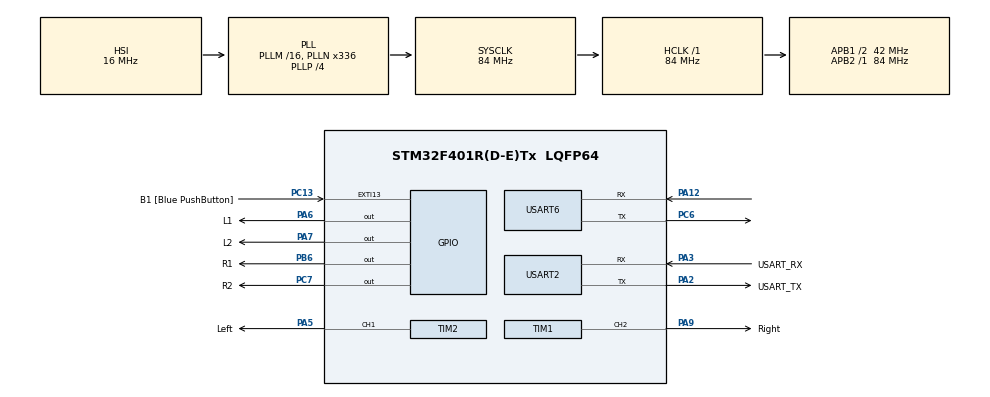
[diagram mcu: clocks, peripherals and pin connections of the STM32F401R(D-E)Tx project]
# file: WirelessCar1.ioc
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Mcu.Family=STM32F4
Mcu.Name=STM32F401R(D-E)Tx
Mcu.Package=LQFP64
NVIC.PriorityGroup=NVIC_PRIORITYGROUP_4
PA12.Mode=Asynchronous
PA12.Signal=USART6_RX
PA13.GPIO_Label=TMS
PA13.Mode=Trace_Asynchronous_SW
PA13.Signal=SYS_JTMS-SWDIO
PA14.GPIO_Label=TCK
PA14.Mode=Trace_Asynchronous_SW
PA14.Signal=SYS_JTCK-SWCLK
PA2.GPIO_Label=USART_TX
PA2.GPIO_Mode=GPIO_MODE_AF_PP
PA2.GPIO_PuPd=GPIO_NOPULL
PA2.GPIO_Speed=GPIO_SPEED_FREQ_LOW
PA2.Mode=Asynchronous
PA2.Signal=USART2_TX
PA3.GPIO_Label=USART_RX
PA3.GPIO_Mode=GPIO_MODE_AF_PP
PA3.GPIO_PuPd=GPIO_NOPULL
PA3.GPIO_Speed=GPIO_SPEED_FREQ_LOW
PA3.Mode=Asynchronous
PA3.Signal=USART2_RX
PA5.GPIO_Label=Left
PA5.Signal=S_TIM2_CH1_ETR
PA6.GPIO_Label=L1
PA6.Signal=GPIO_Output
PA7.GPIO_Label=L2
PA7.Signal=GPIO_Output
PA9.GPIO_Label=Right
PA9.Signal=S_TIM1_CH2
PB3.GPIO_Label=SWO
PB3.Mode=Trace_Asynchronous_SW
PB3.Signal=SYS_JTDO-SWO
PB6.GPIO_Label=R1
PB6.Signal=GPIO_Output
PB8.Signal=I2C1_SCL
PB9.Signal=I2C1_SDA
PC13-ANTI_TAMP.GPIO_Label=B1 [Blue PushButton]
PC13-ANTI_TAMP.GPIO_ModeDefaultEXTI=GPIO_MODE_IT_FALLING
PC13-ANTI_TAMP.GPIO_PuPd=GPIO_NOPULL
PC13-ANTI_TAMP.Signal=GPXTI13
PC14-OSC32_IN.Mode=LSE-External-Oscillator
PC14-OSC32_IN.Signal=RCC_OSC32_IN
PC15-OSC32_OUT.Mode=LSE-External-Oscillator
PC15-OSC32_OUT.Signal=RCC_OSC32_OUT
PC6.Mode=Asynchronous
PC6.Signal=USART6_TX
PC7.GPIO_Label=R2
PC7.Signal=GPIO_Output
PH0\ -\ OSC_IN.Mode=HSE-External-Clock-Source
PH0\ -\ OSC_IN.Signal=RCC_OSC_IN
PH1\ -\ OSC_OUT.Mode=HSE-External-Clock-Source
PH1\ -\ OSC_OUT.Signal=RCC_OSC_OUT
ProjectManager.HeapSize=0x200
ProjectManager.StackSize=0x400
ProjectManager.TargetToolchain=STM32CubeIDE
RCC.48MHZClocksFreq_Value=48000000
RCC.AHBFreq_Value=84000000
RCC.APB1CLKDivider=RCC_HCLK_DIV2
RCC.APB1Freq_Value=42000000
RCC.APB1TimFreq_Value=84000000
RCC.APB2Freq_Value=84000000
RCC.APB2TimFreq_Value=84000000
RCC.CortexFreq_Value=84000000
RCC.HCLKFreq_Value=84000000
RCC.HSE_VALUE=8000000
RCC.HSI_VALUE=16000000
RCC.PLLN=336
RCC.PLLP=RCC_PLLP_DIV4
RCC.PLLQ=7
RCC.SYSCLKFreq_VALUE=84000000
RCC.SYSCLKSource=RCC_SYSCLKSOURCE_PLLCLK
RCC.VCOOutputFreq_Value=336000000
SH.S_TIM1_CH2.0=TIM1_CH2,PWM Generation2 CH2
SH.S_TIM2_CH1_ETR.0=TIM2_CH1,PWM Generation1 CH1
TIM1.AutoReloadPreload=TIM_AUTORELOAD_PRELOAD_ENABLE
TIM1.Channel-PWM\ Generation2\ CH2=TIM_CHANNEL_2
TIM1.Period=999
TIM1.Prescaler=16
TIM2.AutoReloadPreload=TIM_AUTORELOAD_PRELOAD_ENABLE
TIM2.Channel-PWM\ Generation1\ CH1=TIM_CHANNEL_1
TIM2.Period=999
TIM2.Prescaler=16
USART2.VirtualMode=VM_ASYNC
USART6.VirtualMode=VM_ASYNC
board=NUCLEO-F401RE

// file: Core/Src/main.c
/* USER CODE BEGIN Header */
/**
  ******************************************************************************
  * @file           : main.c
  * @brief          : Main program body
  ******************************************************************************
  * @attention
  *
  * Copyright (c) 2026 STMicroelectronics.
  * All rights reserved.
  *
  * This software is licensed under terms that can be found in the LICENSE file
  * in the root directory of this software component.
  * If no LICENSE file comes with this software, it is provided AS-IS.
  *
  ******************************************************************************
  */
/* USER CODE END Header */
#include "main.h"

/* USER CODE BEGIN Includes */
#include <stdio.h>
#include <string.h>
#include <math.h>
#include <stdlib.h>
/* USER CODE END Includes */

/* USER CODE BEGIN PTD */
typedef struct {
    int16_t ax; int16_t ay; int16_t az;
    int16_t temp; // <-- Bắt buộc phải có để giữ đúng thứ tự trục
    int16_t gx; int16_t gy; int16_t gz;
} ESP_Data_t;
/* USER CODE END PTD */

TIM_HandleTypeDef htim1;
TIM_HandleTypeDef htim2;

UART_HandleTypeDef huart2;
UART_HandleTypeDef huart6;

/* USER CODE BEGIN PV */

#define MPU6050_ADDR         (0x68 << 1)
#define PWR_MGMT_1_REG       0x6B
#define ACCEL_XOUT_H_REG     0x3B

// Du lieu nhan tu ESP32 qua I2C
ESP_Data_t remote_data;
uint8_t i2c_rx_buf[sizeof(ESP_Data_t)];

int16_t Accel_X_RAW, Accel_Y_RAW, Accel_Z_RAW;
int16_t Gyro_X_RAW, Gyro_Y_RAW, Gyro_Z_RAW;
uint32_t ADC_Val = 0;

char uart_buffer[150];

float ax, ay, az;
float gx, gy, gz;

float roll = 0.0f;
float pitch = 0.0f;
float yaw = 0.0f;

float Gyro_X_Offset = 0.0f;
float Gyro_Y_Offset = 0.0f;
float Gyro_Z_Offset = 0.0f;

uint32_t last_time = 0;

/* USER CODE END PV */

void SystemClock_Config(void);
static void MX_GPIO_Init(void);
static void MX_USART2_UART_Init(void);
static void MX_TIM1_Init(void);
static void MX_TIM2_Init(void);
static void MX_USART6_UART_Init(void);

/* USER CODE BEGIN 0 */

void QuayLui(){
	HAL_GPIO_WritePin(R1_GPIO_Port, R1_Pin, GPIO_PIN_SET);
	HAL_GPIO_WritePin(R2_GPIO_Port, R2_Pin, GPIO_PIN_RESET);
	HAL_GPIO_WritePin(L1_GPIO_Port, L1_Pin, GPIO_PIN_SET);
	HAL_GPIO_WritePin(L2_GPIO_Port, L2_Pin, GPIO_PIN_RESET);
}

void QuayToi(){
	HAL_GPIO_WritePin(R1_GPIO_Port, R1_Pin, GPIO_PIN_RESET);
	HAL_GPIO_WritePin(R2_GPIO_Port, R2_Pin, GPIO_PIN_SET);
	HAL_GPIO_WritePin(L1_GPIO_Port, L1_Pin, GPIO_PIN_RESET);
	HAL_GPIO_WritePin(L2_GPIO_Port, L2_Pin, GPIO_PIN_SET);
}

void ReTrai(){
	HAL_GPIO_WritePin(R1_GPIO_Port, R1_Pin, GPIO_PIN_SET);
	HAL_GPIO_WritePin(R2_GPIO_Port, R2_Pin, GPIO_PIN_RESET);
	HAL_GPIO_WritePin(L1_GPIO_Port, L1_Pin, GPIO_PIN_RESET);
	HAL_GPIO_WritePin(L2_GPIO_Port, L2_Pin, GPIO_PIN_SET);
}

void RePhai(){
	HAL_GPIO_WritePin(R1_GPIO_Port, R1_Pin, GPIO_PIN_RESET);
	HAL_GPIO_WritePin(R2_GPIO_Port, R2_Pin, GPIO_PIN_SET);
	HAL_GPIO_WritePin(L1_GPIO_Port, L1_Pin, GPIO_PIN_SET);
	HAL_GPIO_WritePin(L2_GPIO_Port, L2_Pin, GPIO_PIN_RESET);
}

void DungXe(){
	HAL_GPIO_WritePin(R1_GPIO_Port, R1_Pin, GPIO_PIN_RESET);
	HAL_GPIO_WritePin(R2_GPIO_Port, R2_Pin, GPIO_PIN_RESET);
	HAL_GPIO_WritePin(L1_GPIO_Port, L1_Pin, GPIO_PIN_RESET);
	HAL_GPIO_WritePin(L2_GPIO_Port, L2_Pin, GPIO_PIN_RESET);
	__HAL_TIM_SET_COMPARE(&htim1, TIM_CHANNEL_2, 0);
	__HAL_TIM_SET_COMPARE(&htim2, TIM_CHANNEL_1, 0);
}

void Read_ESP32_Data(void)
{
    // Khai báo bộ đệm 32 byte (đủ chứa 2 gói tin 16-byte liên tiếp)
    uint8_t buffer[32];

    // 1. DỌN DẸP LỖI UART (Tuyệt đối quan trọng để chống "đơ")
    // Xóa cờ lỗi Tràn bộ đệm (Overrun Error)
    __HAL_UART_CLEAR_OREFLAG(&huart6);
    // Xóa rác cũ trong Data Register để đảm bảo luôn đọc dữ liệu thời gian thực
    __HAL_UART_FLUSH_DRREGISTER(&huart6);

    // 2. ĐỌC NGUYÊN CỤC 32 BYTE TỪ ESP32
    // Đọc số lượng lớn giúp STM32 không bị kẹt trong hàm Receive quá lâu
    if (HAL_UART_Receive(&huart6, buffer, 32, 20) == HAL_OK)
    {
        // 3. QUÉT TÌM HEADER (0xAA 0xBB)
        // Quét từ cuối mảng ngược lên đầu (i--) để luôn bắt được gói tin MỚI NHẤT
        for (int i = 16; i >= 0; i--)
        {
            if (buffer[i] == 0xAA && buffer[i+1] == 0xBB)
            {
                // Bắt đúng Header! Copy 14 byte dữ liệu thực vào struct
                memcpy(&remote_data, &buffer[i+2], sizeof(ESP_Data_t));

                // --- TOÁN HỌC MPU6050 ---
                ax = remote_data.ax / 16384.0f;
                ay = remote_data.ay / 16384.0f;
                az = remote_data.az / 16384.0f;

                gx = remote_data.gx / 131.0f;
                gy = remote_data.gy / 131.0f;
                gz = remote_data.gz / 131.0f;

                // --- BỘ LỌC NHIỄU TĨNH ---
                if (fabs(gx) < 1.0f) gx = 0.0f;
                if (fabs(gy) < 1.0f) gy = 0.0f;
                if (fabs(gz) < 1.0f) gz = 0.0f;

                // --- TÍNH THỜI GIAN dt ---
                static uint32_t last_time = 0;
                uint32_t current_time = HAL_GetTick();
                float dt = 0.02f;
                if (last_time != 0) {
                    dt = (current_time - last_time) / 1000.0f;
                    if (dt > 0.1f) dt = 0.02f;
                }
                last_time = current_time;

                // --- BỘ LỌC BÙ CHUYỂN ĐỘNG ---
                float roll_acc = atan2f(ay, az) * 57.29578f;
                float pitch_acc = atan2f(-ax, sqrtf(ay * ay + az * az)) * 57.29578f;

                roll  = 0.96f * (roll  + gx * dt) + 0.04f * roll_acc;
                pitch = 0.96f * (pitch + gy * dt) + 0.04f * pitch_acc;
                yaw = yaw + gz * dt;

                // Đã xử lý xong gói tin mới nhất, thoát vòng lặp For ngay lập tức
                break;
            }
        }
    }
    else
    {
        // 4. RESET TRẠNG THÁI NẾU BỊ MẤT ĐỒNG BỘ
        // Ép UART sẵn sàng nhận lại nếu có bất kỳ lỗi nào xảy ra
        huart6.RxState = HAL_UART_STATE_READY;
    }
}
// void Transmit_UART(void){
// 	sprintf(uart_buffer, "Chui: %.2f | Nghieng: %.2f | Xoay(om cua): %.2f\r\n", pitch, roll, yaw);
//     HAL_UART_Transmit(&huart2, (uint8_t*)uart_buffer, strlen(uart_buffer), 100);
// }

void Transmit_Train_Data(void)
{
    // Gửi đúng 2 giá trị pitch và roll (ép kiểu int) cách nhau bằng dấu phẩy
    sprintf(uart_buffer, "%d,%d\r\n", (int)pitch, (int)roll);
    HAL_UART_Transmit(&huart2, (uint8_t*)uart_buffer, strlen(uart_buffer), 100);
}

void Transmit_RAW_Data(void)
{
    // In ra 6 giá trị RAW cách nhau bằng dấu phẩy (chuẩn định dạng CSV)
    // Cấu trúc: ax, ay, az, gx, gy, gz
    sprintf(uart_buffer, "%d,%d,%d,%d,%d,%d\r\n",
            remote_data.ax,
            remote_data.ay,
            remote_data.az,
            remote_data.gx,
            remote_data.gy,
            remote_data.gz);

    HAL_UART_Transmit(&huart2, (uint8_t*)uart_buffer, strlen(uart_buffer), 100);
}

void Xe_DieuKhien_GocNghieng(void)
{
    // Ngưỡng góc nghiêng để kích hoạt chạy (tránh xe bị nhạy quá khi rung lắc nhẹ)
    float PThreshold = 28.0f;
    float RThreshold = 36.0f;

    // Tốc độ di chuyển mong muốn (Giá trị từ 0 đến 999)
    uint32_t TocDo = 600;
    uint32_t BeLai = 750;

    // 1. Chạy Tới (Nghiêng mạch về phía trước)
    if (pitch > PThreshold) {
        QuayToi();
        __HAL_TIM_SET_COMPARE(&htim1, TIM_CHANNEL_2, TocDo);
        __HAL_TIM_SET_COMPARE(&htim2, TIM_CHANNEL_1, TocDo);
    }
    // 2. Chạy Lui (Nghiêng mạch về phía sau)
    else if (pitch < -PThreshold) {
        QuayLui();
        __HAL_TIM_SET_COMPARE(&htim1, TIM_CHANNEL_2, TocDo);
        __HAL_TIM_SET_COMPARE(&htim2, TIM_CHANNEL_1, TocDo);
    }
    // 3. Rẽ Phải (Nghiêng mạch sang bên phải)
    else if (roll > RThreshold) {
        RePhai();
        __HAL_TIM_SET_COMPARE(&htim1, TIM_CHANNEL_2, 0);
        __HAL_TIM_SET_COMPARE(&htim2, TIM_CHANNEL_1, BeLai);
    }
    // 4. Rẽ Trái (Nghiêng mạch sang bên trái)
    else if (roll < -RThreshold) {
        ReTrai();
        __HAL_TIM_SET_COMPARE(&htim1, TIM_CHANNEL_2, BeLai);
        __HAL_TIM_SET_COMPARE(&htim2, TIM_CHANNEL_1, 0);
    }
    // 5. Đứng yên khi mạch cân bằng
    else {
        DungXe();
    }
}

// --- BỘ NÃO AI MỚI ĐƯỢC HUẤN LUYỆN TỪ DỮ LIỆU THỰC TẾ ---
//int AI_Predict(int16_t current_pitch, int16_t current_roll) {
//     if (current_pitch <= -11.50) {
//         return 4; // Rẽ Phải
//     } else {
//         if (current_roll <= 42.50) {
//             if (current_pitch <= 11.50) {
//                 return 1; // Chạy Tới
//             } else {
//                 return 3; // Rẽ Trái
//             }
//         } else {
//             if (current_roll <= -42.50) {
//                 return 0; // Dừng Xe
//             } else {
//                 return 2; // Chạy Lùi
//             }
//         }
//     }
// }

int AI_Predict(float current_pitch, float current_roll) {
    if (current_pitch <= 39.00) {
        if (current_roll <= 23.50) {
            if (current_pitch <= -2.00) {
                return 4; // TRAI
            } else {
                if (current_roll <= -18.50) {
                    return 2; // TOI
                } else {
                    return 0; // DUNG XE
                }
            }
        } else {
            return 1; // LUI
        }
    } else {
        return 3; // PHAI
    }
}

void Xe_DieuKhien_AI(void)
{
    uint32_t TocDo = 800;
    uint32_t BeLai = 850;

    // Đưa dữ liệu RAW vào bộ não AI để lấy kết quả
    int trang_thai = AI_Predict(pitch, roll);

    // Xử lý hành động dựa trên kết quả AI
    if (trang_thai == 0)
    {
        DungXe();
        sprintf(uart_buffer, ">>> TRANG THAI: DUNG\r\n");
        HAL_UART_Transmit(&huart2, (uint8_t*)uart_buffer, strlen(uart_buffer), 100);
    }
    else if (trang_thai == 1)
    {
        QuayToi();
        __HAL_TIM_SET_COMPARE(&htim1, TIM_CHANNEL_2, TocDo);
        __HAL_TIM_SET_COMPARE(&htim2, TIM_CHANNEL_1, TocDo);

        sprintf(uart_buffer, ">>> TRANG THAI: Chay Toi\r\n");
        HAL_UART_Transmit(&huart2, (uint8_t*)uart_buffer, strlen(uart_buffer), 100);
    }
    else if (trang_thai == 2)
    {
        QuayLui();
        __HAL_TIM_SET_COMPARE(&htim1, TIM_CHANNEL_2, TocDo);
        __HAL_TIM_SET_COMPARE(&htim2, TIM_CHANNEL_1, TocDo);

        sprintf(uart_buffer, ">>> TRANG THAI: Chay Lui\r\n");
        HAL_UART_Transmit(&huart2, (uint8_t*)uart_buffer, strlen(uart_buffer), 100);
    }
    else if (trang_thai == 3)
    {
        ReTrai();
        __HAL_TIM_SET_COMPARE(&htim1, TIM_CHANNEL_2, BeLai);
        __HAL_TIM_SET_COMPARE(&htim2, TIM_CHANNEL_1, 0);

        sprintf(uart_buffer, ">>> TRANG THAI: Re Trai\r\n");
        HAL_UART_Transmit(&huart2, (uint8_t*)uart_buffer, strlen(uart_buffer), 100);
    }
    else if (trang_thai == 4)
    {
        RePhai();
        __HAL_TIM_SET_COMPARE(&htim1, TIM_CHANNEL_2, 0);
        __HAL_TIM_SET_COMPARE(&htim2, TIM_CHANNEL_1, BeLai);

        sprintf(uart_buffer, ">>> TRANG THAI: Re Phai\r\n");
        HAL_UART_Transmit(&huart2, (uint8_t*)uart_buffer, strlen(uart_buffer), 100);
    }
}
/* USER CODE END 0 */

int main(void)
{

  /* MCU Configuration--------------------------------------------------------*/

  /* Reset of all peripherals, Initializes the Flash interface and the Systick. */
  HAL_Init();

  /* Configure the system clock */
  SystemClock_Config();

  /* Initialize all configured peripherals */
  MX_GPIO_Init();
  MX_USART2_UART_Init();
  MX_TIM1_Init();
  MX_TIM2_Init();
  MX_USART6_UART_Init();
  /* USER CODE BEGIN 2 */
  HAL_TIM_PWM_Start(&htim1, TIM_CHANNEL_2);
  HAL_TIM_PWM_Start(&htim2, TIM_CHANNEL_1);
  /* USER CODE END 2 */

  /* Infinite loop */
  /* USER CODE BEGIN WHILE */
  while (1)
  {
// 	  Read_ESP32_Data();

// ////      //Xe_DieuKhien_GocNghieng();
// 	  Xe_DieuKhien_AI();
// ////      Transmit_UART();
// //      Transmit_RAW_Data();

//   	  HAL_Delay(5);

      Read_ESP32_Data();

      // TẮT tính năng điều khiển xe
	  Xe_DieuKhien_AI();

      // BẬT tính năng gửi dữ liệu cho Python
      //Transmit_Train_Data();

  	  HAL_Delay(5);

    /* USER CODE END WHILE */

  }
}

void SystemClock_Config(void)
{
  RCC_OscInitTypeDef RCC_OscInitStruct = {0};
  RCC_ClkInitTypeDef RCC_ClkInitStruct = {0};

  /** Configure the main internal regulator output voltage
  */
  __HAL_RCC_PWR_CLK_ENABLE();
  __HAL_PWR_VOLTAGESCALING_CONFIG(PWR_REGULATOR_VOLTAGE_SCALE2);

  /** Initializes the RCC Oscillators according to the specified parameters
  * in the RCC_OscInitTypeDef structure.
  */
  RCC_OscInitStruct.OscillatorType = RCC_OSCILLATORTYPE_HSI;
  RCC_OscInitStruct.HSIState = RCC_HSI_ON;
  RCC_OscInitStruct.HSICalibrationValue = RCC_HSICALIBRATION_DEFAULT;
  RCC_OscInitStruct.PLL.PLLState = RCC_PLL_ON;
  RCC_OscInitStruct.PLL.PLLSource = RCC_PLLSOURCE_HSI;
  RCC_OscInitStruct.PLL.PLLM = 16;
  RCC_OscInitStruct.PLL.PLLN = 336;
  RCC_OscInitStruct.PLL.PLLP = RCC_PLLP_DIV4;
  RCC_OscInitStruct.PLL.PLLQ = 7;
  if (HAL_RCC_OscConfig(&RCC_OscInitStruct) != HAL_OK)
  {
    Error_Handler();
  }

  /** Initializes the CPU, AHB and APB buses clocks
  */
  RCC_ClkInitStruct.ClockType = RCC_CLOCKTYPE_HCLK|RCC_CLOCKTYPE_SYSCLK
                              |RCC_CLOCKTYPE_PCLK1|RCC_CLOCKTYPE_PCLK2;
  RCC_ClkInitStruct.SYSCLKSource = RCC_SYSCLKSOURCE_PLLCLK;
  RCC_ClkInitStruct.AHBCLKDivider = RCC_SYSCLK_DIV1;
  RCC_ClkInitStruct.APB1CLKDivider = RCC_HCLK_DIV2;
  RCC_ClkInitStruct.APB2CLKDivider = RCC_HCLK_DIV1;

  if (HAL_RCC_ClockConfig(&RCC_ClkInitStruct, FLASH_LATENCY_2) != HAL_OK)
  {
    Error_Handler();
  }
}

static void MX_TIM1_Init(void)
{

  TIM_MasterConfigTypeDef sMasterConfig = {0};
  TIM_OC_InitTypeDef sConfigOC = {0};
  TIM_BreakDeadTimeConfigTypeDef sBreakDeadTimeConfig = {0};

  htim1.Instance = TIM1;
  htim1.Init.Prescaler = 16;
  htim1.Init.CounterMode = TIM_COUNTERMODE_UP;
  htim1.Init.Period = 999;
  htim1.Init.ClockDivision = TIM_CLOCKDIVISION_DIV1;
  htim1.Init.RepetitionCounter = 0;
  htim1.Init.AutoReloadPreload = TIM_AUTORELOAD_PRELOAD_ENABLE;
  if (HAL_TIM_PWM_Init(&htim1) != HAL_OK)
  {
    Error_Handler();
  }
  sMasterConfig.MasterOutputTrigger = TIM_TRGO_RESET;
  sMasterConfig.MasterSlaveMode = TIM_MASTERSLAVEMODE_DISABLE;
  if (HAL_TIMEx_MasterConfigSynchronization(&htim1, &sMasterConfig) != HAL_OK)
  {
    Error_Handler();
  }
  sConfigOC.OCMode = TIM_OCMODE_PWM1;
  sConfigOC.Pulse = 0;
  sConfigOC.OCPolarity = TIM_OCPOLARITY_HIGH;
  sConfigOC.OCNPolarity = TIM_OCNPOLARITY_HIGH;
  sConfigOC.OCFastMode = TIM_OCFAST_DISABLE;
  sConfigOC.OCIdleState = TIM_OCIDLESTATE_RESET;
  sConfigOC.OCNIdleState = TIM_OCNIDLESTATE_RESET;
  if (HAL_TIM_PWM_ConfigChannel(&htim1, &sConfigOC, TIM_CHANNEL_2) != HAL_OK)
  {
    Error_Handler();
  }
  sBreakDeadTimeConfig.OffStateRunMode = TIM_OSSR_DISABLE;
  sBreakDeadTimeConfig.OffStateIDLEMode = TIM_OSSI_DISABLE;
  sBreakDeadTimeConfig.LockLevel = TIM_LOCKLEVEL_OFF;
  sBreakDeadTimeConfig.DeadTime = 0;
  sBreakDeadTimeConfig.BreakState = TIM_BREAK_DISABLE;
  sBreakDeadTimeConfig.BreakPolarity = TIM_BREAKPOLARITY_HIGH;
  sBreakDeadTimeConfig.AutomaticOutput = TIM_AUTOMATICOUTPUT_DISABLE;
  if (HAL_TIMEx_ConfigBreakDeadTime(&htim1, &sBreakDeadTimeConfig) != HAL_OK)
  {
    Error_Handler();
  }
  HAL_TIM_MspPostInit(&htim1);

}

static void MX_TIM2_Init(void)
{

  TIM_MasterConfigTypeDef sMasterConfig = {0};
  TIM_OC_InitTypeDef sConfigOC = {0};

  htim2.Instance = TIM2;
  htim2.Init.Prescaler = 16;
  htim2.Init.CounterMode = TIM_COUNTERMODE_UP;
  htim2.Init.Period = 999;
  htim2.Init.ClockDivision = TIM_CLOCKDIVISION_DIV1;
  htim2.Init.AutoReloadPreload = TIM_AUTORELOAD_PRELOAD_ENABLE;
  if (HAL_TIM_PWM_Init(&htim2) != HAL_OK)
  {
    Error_Handler();
  }
  sMasterConfig.MasterOutputTrigger = TIM_TRGO_RESET;
  sMasterConfig.MasterSlaveMode = TIM_MASTERSLAVEMODE_DISABLE;
  if (HAL_TIMEx_MasterConfigSynchronization(&htim2, &sMasterConfig) != HAL_OK)
  {
    Error_Handler();
  }
  sConfigOC.OCMode = TIM_OCMODE_PWM1;
  sConfigOC.Pulse = 0;
  sConfigOC.OCPolarity = TIM_OCPOLARITY_HIGH;
  sConfigOC.OCFastMode = TIM_OCFAST_DISABLE;
  if (HAL_TIM_PWM_ConfigChannel(&htim2, &sConfigOC, TIM_CHANNEL_1) != HAL_OK)
  {
    Error_Handler();
  }
  HAL_TIM_MspPostInit(&htim2);

}

static void MX_USART2_UART_Init(void)
{

  huart2.Instance = USART2;
  huart2.Init.BaudRate = 115200;
  huart2.Init.WordLength = UART_WORDLENGTH_8B;
  huart2.Init.StopBits = UART_STOPBITS_1;
  huart2.Init.Parity = UART_PARITY_NONE;
  huart2.Init.Mode = UART_MODE_TX_RX;
  huart2.Init.HwFlowCtl = UART_HWCONTROL_NONE;
  huart2.Init.OverSampling = UART_OVERSAMPLING_16;
  if (HAL_UART_Init(&huart2) != HAL_OK)
  {
    Error_Handler();
  }

}

static void MX_USART6_UART_Init(void)
{

  huart6.Instance = USART6;
  huart6.Init.BaudRate = 115200;
  huart6.Init.WordLength = UART_WORDLENGTH_8B;
  huart6.Init.StopBits = UART_STOPBITS_1;
  huart6.Init.Parity = UART_PARITY_NONE;
  huart6.Init.Mode = UART_MODE_TX_RX;
  huart6.Init.HwFlowCtl = UART_HWCONTROL_NONE;
  huart6.Init.OverSampling = UART_OVERSAMPLING_16;
  if (HAL_UART_Init(&huart6) != HAL_OK)
  {
    Error_Handler();
  }

}

static void MX_GPIO_Init(void)
{
  GPIO_InitTypeDef GPIO_InitStruct = {0};

  /* GPIO Ports Clock Enable */
  __HAL_RCC_GPIOC_CLK_ENABLE();
  __HAL_RCC_GPIOH_CLK_ENABLE();
  __HAL_RCC_GPIOA_CLK_ENABLE();
  __HAL_RCC_GPIOB_CLK_ENABLE();

  /*Configure GPIO pin Output Level */
  HAL_GPIO_WritePin(GPIOA, L1_Pin|L2_Pin, GPIO_PIN_RESET);

  /*Configure GPIO pin Output Level */
  HAL_GPIO_WritePin(R2_GPIO_Port, R2_Pin, GPIO_PIN_RESET);

  /*Configure GPIO pin Output Level */
  HAL_GPIO_WritePin(R1_GPIO_Port, R1_Pin, GPIO_PIN_RESET);

  /*Configure GPIO pin : B1_Pin */
  GPIO_InitStruct.Pin = B1_Pin;
  GPIO_InitStruct.Mode = GPIO_MODE_IT_FALLING;
  GPIO_InitStruct.Pull = GPIO_NOPULL;
  HAL_GPIO_Init(B1_GPIO_Port, &GPIO_InitStruct);

  /*Configure GPIO pins : L1_Pin L2_Pin */
  GPIO_InitStruct.Pin = L1_Pin|L2_Pin;
  GPIO_InitStruct.Mode = GPIO_MODE_OUTPUT_PP;
  GPIO_InitStruct.Pull = GPIO_NOPULL;
  GPIO_InitStruct.Speed = GPIO_SPEED_FREQ_LOW;
  HAL_GPIO_Init(GPIOA, &GPIO_InitStruct);

  /*Configure GPIO pin : R2_Pin */
  GPIO_InitStruct.Pin = R2_Pin;
  GPIO_InitStruct.Mode = GPIO_MODE_OUTPUT_PP;
  GPIO_InitStruct.Pull = GPIO_NOPULL;
  GPIO_InitStruct.Speed = GPIO_SPEED_FREQ_LOW;
  HAL_GPIO_Init(R2_GPIO_Port, &GPIO_InitStruct);

  /*Configure GPIO pin : R1_Pin */
  GPIO_InitStruct.Pin = R1_Pin;
  GPIO_InitStruct.Mode = GPIO_MODE_OUTPUT_PP;
  GPIO_InitStruct.Pull = GPIO_NOPULL;
  GPIO_InitStruct.Speed = GPIO_SPEED_FREQ_LOW;
  HAL_GPIO_Init(R1_GPIO_Port, &GPIO_InitStruct);

  /*Configure GPIO pins : PB8 PB9 */
  GPIO_InitStruct.Pin = GPIO_PIN_8|GPIO_PIN_9;
  GPIO_InitStruct.Mode = GPIO_MODE_AF_OD;
  GPIO_InitStruct.Pull = GPIO_NOPULL;
  GPIO_InitStruct.Speed = GPIO_SPEED_FREQ_VERY_HIGH;
  GPIO_InitStruct.Alternate = GPIO_AF4_I2C1;
  HAL_GPIO_Init(GPIOB, &GPIO_InitStruct);

}

void Error_Handler(void)
{
  __disable_irq();
  while (1)
  {
  }
}
